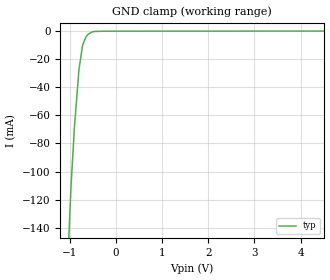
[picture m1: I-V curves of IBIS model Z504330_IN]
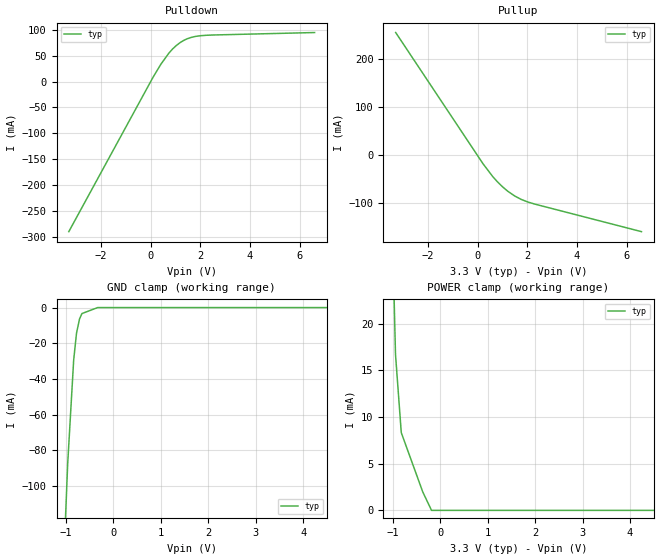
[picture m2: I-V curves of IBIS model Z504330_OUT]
| YOU ARE ONLY AUTHORIZED TO USE THIS SOFTWARE
| ACCORDING TO LICENSOR'S LICENSE RESTRICTIONS.
[IBIS Ver] 3.1
[File Name] mc74lcx02d.ibs
[File Rev] 2.0
[Source] Measured and created by ICX Technology
[Date] Friday 7/14/00 9:08:12 AM
[Copyright]
| (C) COPYRIGHT 1993-2000
| MENTOR GRAPHICS CORPORATION
| ICX STANDARD LIBRARY, ICX PROJECT MODELING,
| ICX CUSTOM MODELING, ICX VENDOR MODEL
| ALL RIGHTS RESERVED.
| THE FOLLOWING ARE TRADEMARKS OR SERVICE MARKS OF
| MENTOR GRAPHICS CORPORATION:ICX (R), ICX STANDARD
| LIBRARY(R), ICX PROJECT MODELING(R), ICX CUSTOM
| MODELING(R), qualityIBIS(TM), MODELVIEWER(TM),
| AND MODELEDITOR(TM)
| ALL COPIES OF SOFTWARE, INCLUDING BUT NOT LIMITED TO
| ANY MODIFICATIONS, ENHANCEMENTS OR DERIVATIVE WORKS,
| MUST CONTAIN ALL MENTOR GRAPHICS CORPORATION'S
| NOTICES AND LEGENDS, INCLUDING THOSE EMBEDDED IN
| SOFTWARE AND THOSE AFFIXED TO SOFTWARE MEDIUM
| AND CONTAINER, AS RECEIVED FROM MENTOR GRAPHICS
| CORPORATION.
|  ZAP Model Builder 2.7
[Component] MC74LCX02D
[Manufacturer] OnSemiconductor
[Package]
| variable   typ   min   max
R_pkg  .155ohms NA NA
L_pkg  3.028nH NA NA
C_pkg  .381pF NA NA
[Pin] signal_name  model_name  R_pin  L_pin C_pin
1 Y Z504330_OUT .16 3.587n .407p
2 A Z504330_IN .156 3.147n .387p
3 B Z504330_IN .152 2.717n .367p
4 Y Z504330_OUT .148 2.297n .347p
5 A Z504330_IN .152 2.717n .367p
6 B Z504330_IN .156 3.147n .387p
7 GROUND GND .16 3.587n .407p
8 A Z504330_IN .16 3.587n .407p
9 B Z504330_IN .156 3.147n .387p
10 Y Z504330_OUT .152 2.717n .367p
11 A Z504330_IN .148 2.297n .347p
12 B Z504330_IN .152 2.717n .367p
13 Y Z504330_OUT .156 3.147n .387p
14 VCC POWER .16 3.587n .407p
| Models and submodels in the file (2): Z504330_IN (Input), Z504330_OUT (Output)
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| (C) COPYRIGHT 1993-2000
| MENTOR GRAPHICS CORPORATION
| ICX STANDARD LIBRARY, ICX PROJECT MODELING,
| ICX CUSTOM MODELING, ICX VENDOR MODEL
| ALL RIGHTS RESERVED.
| THE FOLLOWING ARE TRADEMARKS OR SERVICE MARKS OF
| MENTOR GRAPHICS CORPORATION:ICX (R), ICX STANDARD
| LIBRARY(R), ICX PROJECT MODELING(R), ICX CUSTOM
| MODELING(R), qualityIBIS(TM), MODELVIEWER(TM),
| AND MODELEDITOR(TM)
| ALL COPIES OF SOFTWARE, INCLUDING BUT NOT LIMITED TO
| ANY MODIFICATIONS, ENHANCEMENTS OR DERIVATIVE WORKS,
| MUST CONTAIN ALL MENTOR GRAPHICS CORPORATION'S
| NOTICES AND LEGENDS, INCLUDING THOSE EMBEDDED IN
| SOFTWARE AND THOSE AFFIXED TO SOFTWARE MEDIUM
| AND CONTAINER, AS RECEIVED FROM MENTOR GRAPHICS
| CORPORATION.
| Model Application Version 1.89 2/18/99.
[Model] Z504330_IN
Model_type Input
Vinl = 800.0mV
Vinh = 2.000V
C_comp 4.000pF NA NA
| variable typ   min   max
[Voltage Range] 3.300V NA NA
[GND Clamp Reference] 0.000V NA NA
[POWER Clamp Reference] 3.300V NA NA
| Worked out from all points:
|   GND clamp passes 1 mA (typ) near -0.55 V on its own axis
[GND Clamp]
-3.3V     -4.877A    NA         NA
-1.047V   -168.5mA   NA         NA
-968.8mV  -109mA     NA         NA
-896.7mV  -68.13mA   NA         NA
-799.6mV  -27.45mA   NA         NA
-721.1mV  -9.898mA   NA         NA
-643.8mV  -3.771mA   NA         NA
-531.4mV  -673.2uA   NA         NA
-234.2mV  70.69uA    NA         NA
6.6V      157.7uA    NA         NA
[POWER Clamp]
-3.3V     0A         NA         NA
6.6V      0A         NA         NA
| (C) COPYRIGHT 1993-2000
| MENTOR GRAPHICS CORPORATION
| ICX STANDARD LIBRARY, ICX PROJECT MODELING,
| ICX CUSTOM MODELING, ICX VENDOR MODEL
| ALL RIGHTS RESERVED.
| THE FOLLOWING ARE TRADEMARKS OR SERVICE MARKS OF
| MENTOR GRAPHICS CORPORATION:ICX (R), ICX STANDARD
| LIBRARY(R), ICX PROJECT MODELING(R), ICX CUSTOM
| MODELING(R), qualityIBIS(TM), MODELVIEWER(TM),
| AND MODELEDITOR(TM)
| ALL COPIES OF SOFTWARE, INCLUDING BUT NOT LIMITED TO
| ANY MODIFICATIONS, ENHANCEMENTS OR DERIVATIVE WORKS,
| MUST CONTAIN ALL MENTOR GRAPHICS CORPORATION'S
| NOTICES AND LEGENDS, INCLUDING THOSE EMBEDDED IN
| SOFTWARE AND THOSE AFFIXED TO SOFTWARE MEDIUM
| AND CONTAINER, AS RECEIVED FROM MENTOR GRAPHICS
| CORPORATION.
| Model Application Version 1.89 2/18/99.
[Model] Z504330_OUT
Model_type Output
Vref=0.000V
Rref=500.0ohms
Cref=50.00pF
Vmeas=1.500V
C_comp 8.000pF NA NA
| variable typ   min   max
[Voltage Range] 3.300V NA NA
[POWER Clamp Reference] 3.300V NA NA
[Pullup Reference] 3.300V NA NA
[Pulldown Reference] 0.000V NA NA
[GND Clamp Reference] 0.000V NA NA
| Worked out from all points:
|   slope of the pulldown table from 0 to 0.495 V, typ, clamps not added: 12.7 ohm
|   slope of the pullup table from 0 to 0.495 V, typ, clamps not added: 13.8 ohm
|   POWER clamp passes 1 mA (typ) near -0.28 V on its own axis
[GND Clamp]
-3.3V     -1.618A    NA         NA
-964.4mV  -87.42mA   NA         NA
-838.6mV  -29.45mA   NA         NA
-778.5mV  -14.33mA   NA         NA
-714.9mV  -6.349mA   NA         NA
-664.2mV  -3.355mA   NA         NA
-332.1mV  0A         NA         NA
6.6V      0A         NA         NA
[Pulldown]
-3.3V     -289.3mA   NA         NA
97.58mV   8.655mA    NA         NA
410.9mV   33.49mA    NA         NA
728mV     54.5mA     NA         NA
1.029V    69.36mA    NA         NA
1.202V    75.65mA    NA         NA
1.474V    82.47mA    NA         NA
2.027V    88.36mA    NA         NA
6.6V      94.4mA     NA         NA
[Pullup]
-3.3V     254.7mA    NA         NA
216mV     -18.83mA   NA         NA
606mV     -45.44mA   NA         NA
794mV     -56.36mA   NA         NA
1.003V    -66.95mA   NA         NA
1.213V    -76.17mA   NA         NA
1.502V    -86.42mA   NA         NA
1.755V    -93.23mA   NA         NA
2.026V    -98.77mA   NA         NA
2.305V    -103.1mA   NA         NA
6.6V      -160.5mA   NA         NA
[POWER Clamp]
-3.3V     502mA      NA         NA
-945mV    16.73mA    NA         NA
-823mV    8.333mA    NA         NA
-371mV    1.986mA    NA         NA
-185.5mV  0A         NA         NA
6.6V      0A         NA         NA
[Ramp]
| variable typ min max
dV/dt_r 1.946/375.7p NA NA
dV/dt_f 1.946/665.1p NA NA
R_load = 500.0Ohms
